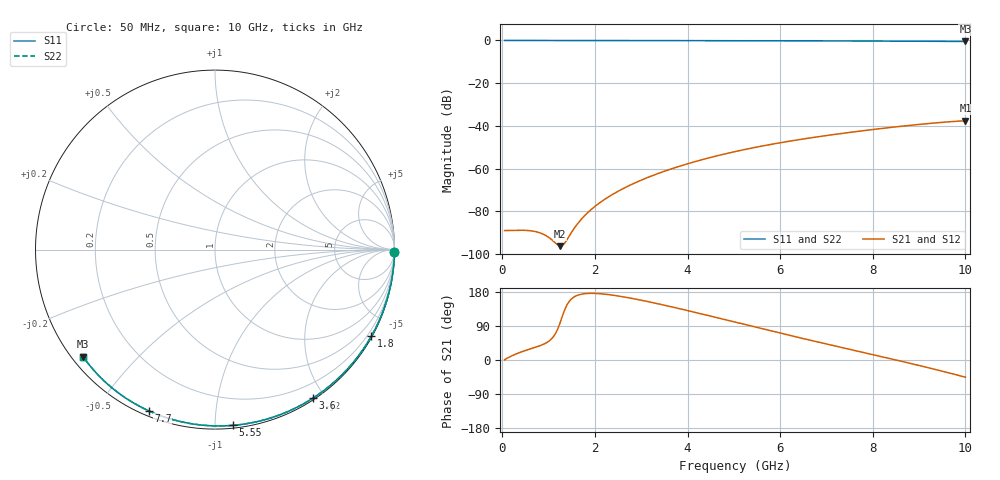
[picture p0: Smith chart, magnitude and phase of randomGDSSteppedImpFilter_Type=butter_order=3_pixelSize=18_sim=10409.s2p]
! freq	dB(S11)	phase(S11)	dB(S12)	phase(S12)
!  dB(S21)	phase(S21)	dB(S22)	phase(S22)
!S-par simulation data
#  GHz  S  DB  R 50
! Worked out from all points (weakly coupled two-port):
!   200 points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, 50 MHz to 10 GHz, reference 50 ohm
!   highest |S21| = -37.54 dB at 10 GHz (marker M1); lowest = -96.2 dB at 1.25 GHz (marker M2)
!   lowest |S11| = -0.5 dB at 10 GHz (marker M3), VSWR 36.48, Z = 1.54 - j17.7 ohm
!   |S11| at or under -10 dB: nowhere
!   |S22| runs from -0.5 to 0.0 dB; largest |S21 - S12| = 0
!   S11 on the Smith chart (normalised r, x): 50 MHz: open; 1.8 GHz: 0.03, -3.87; 3.6 GHz: 0.02, -1.86; 5.55 GHz: 0.02, -1.11; 7.7 GHz: 0.02, -0.67; 10 GHz: 0.03, -0.35
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0.05  -0.00 -0.8  -88.93 0.5  -88.93 0.5  -0.00 -0.8
0.65  -0.01 -10.6  -89.15 31.1  -89.15 31.1  -0.01 -10.6
1.25  -0.03 -20.2  -96.23 98.6  -96.23 98.6  -0.03 -20.2
1.75  -0.04 -28.2  -82.59 174.6  -82.59 174.6  -0.04 -28.2
1.8  -0.04 -29.0  -81.47 175.3  -81.47 175.3  -0.04 -29.0
1.85  -0.04 -29.7  -80.43 175.8  -80.43 175.8  -0.04 -29.7
1.9  -0.04 -30.5  -79.45 176.0  -79.45 176.0  -0.04 -30.5
2.05  -0.04 -32.9  -76.79 175.5  -76.79 175.5  -0.04 -32.9
2.2  -0.04 -35.2  -74.48 174.0  -74.48 174.0  -0.04 -35.2
2.55  -0.05 -40.6  -69.96 168.0  -69.96 168.0  -0.05 -40.7
2.95  -0.06 -46.8  -65.81 159.0  -65.81 159.0  -0.06 -46.8
3.4  -0.07 -53.5  -61.95 147.4  -61.95 147.4  -0.07 -53.6
3.6  -0.08 -56.5  -60.44 141.9  -60.44 141.9  -0.08 -56.5
4.3  -0.09 -66.7  -55.85 121.7  -55.85 121.7  -0.09 -66.8
5.05  -0.12 -77.4  -51.88 99.2  -51.88 99.2  -0.12 -77.4
5.55  -0.14 -84.3  -49.64 84.3  -49.64 84.3  -0.14 -84.3
6.1  -0.16 -91.7  -47.49 68.0  -47.49 68.0  -0.16 -91.7
6.7  -0.19 -99.6  -45.42 50.7  -45.42 50.7  -0.19 -99.6
7.7  -0.25 -112.4  -42.46 22.6  -42.46 22.6  -0.25 -112.4
8.35  -0.30 -120.6  -40.78 4.4  -40.78 4.4  -0.30 -120.6
9.25  -0.39 -131.7  -38.77 -21.9  -38.77 -21.9  -0.39 -131.8
10  -0.48 -141.0  -37.54 -45.3  -37.54 -45.3  -0.48 -141.0
